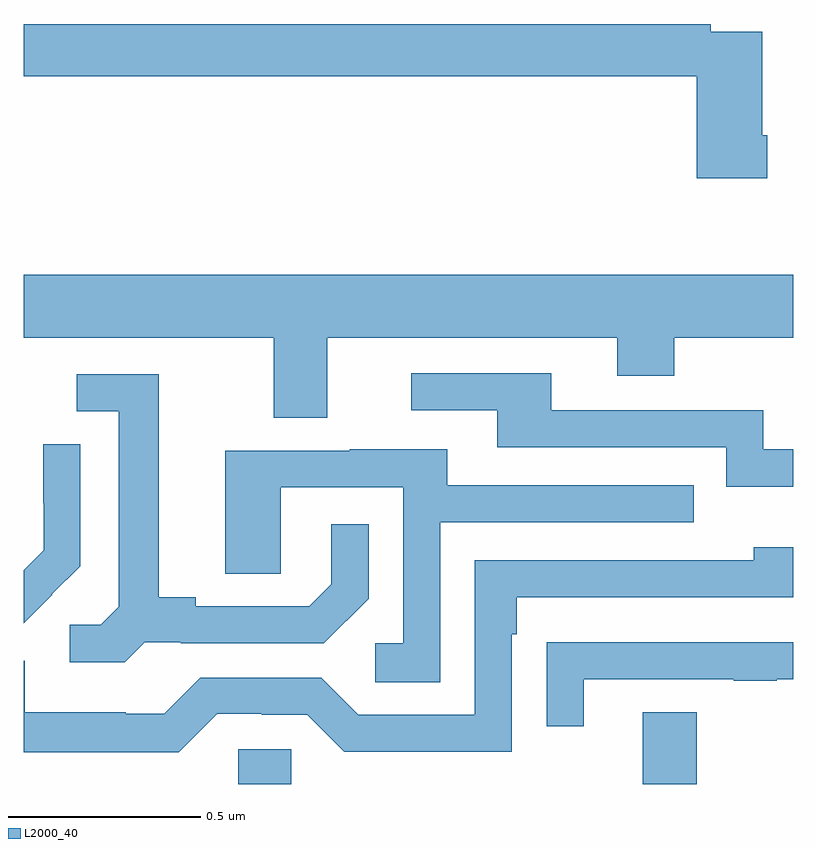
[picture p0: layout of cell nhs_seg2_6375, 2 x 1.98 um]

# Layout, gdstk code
import gdstk
lib = gdstk.Library(unit=1e-6, precision=1e-09)
def R(c, l, rs):  # rectangles x0, y0, x1, y1
    for r in rs: c.add(gdstk.rectangle(r[:2], r[2:], *l))
def P(c, l, *ps):  # polygons
    for p in ps: c.add(gdstk.Polygon(p, *l))
L2000_40 = (2000, 40)

nhs_seg2_6375 = lib.new_cell('nhs_seg2_6375')
R(nhs_seg2_6375, L2000_40, [(190.557,655.8,190.695,655.89), (191.609,655.8,191.749,655.987)])
P(nhs_seg2_6375, L2000_40, [(191.933,657.487),(191.92,657.487),(191.92,657.756),(191.786,657.756),(191.786,657.776),(190,657.776),(190,657.64),(191.75,657.64),(191.75,657.375),(191.933,657.375)],
  [(190.789,656.96),(191.543,656.96),(191.543,656.861),(191.691,656.861),(191.691,656.96),(192,656.96),(192,657.124),(190,657.124),(190,656.96),(190.649,656.96),(190.649,656.752),(190.789,656.752)],
  [(192,656.67),(191.922,656.67),(191.922,656.772),(191.371,656.772),(191.371,656.868),(191.007,656.868),(191.007,656.772),(191.231,656.772),(191.231,656.676),(191.826,656.676),(191.826,656.573),(192,656.573)],
  [(190.314,656.169),(190.408,656.169),(190.408,656.166),(190.78,656.166),(190.896,656.282),(190.896,656.476),(190.799,656.476),(190.799,656.319),(190.742,656.262),(190.447,656.262),(190.447,656.285),(190.351,656.285),(190.351,656.865),(190.137,656.865),(190.137,656.769),(190.247,656.769),(190.247,656.261),(190.2,656.214),(190.119,656.214),(190.119,656.117),(190.262,656.117)],
  [(190.074,656.292),(190.073,656.293),(190.146,656.366),(190.146,656.684),(190.05,656.684),(190.05,656.53),(190.052,656.53),(190.052,656.408),(190,656.356),(190,656.218)],
  [(191.082,656.481),(191.741,656.481),(191.741,656.577),(191.101,656.577),(191.101,656.671),(190.847,656.671),(190.847,656.667),(190.523,656.667),(190.523,656.347),(190.668,656.347),(190.668,656.571),(190.986,656.571),(190.986,656.166),(190.914,656.166),(190.914,656.065),(191.082,656.065)],
  [(190.503,655.983),(190.619,655.983),(190.619,655.98),(190.737,655.98),(190.833,655.884),(191.268,655.884),(191.268,656.189),(191.281,656.189),(191.281,656.286),(192,656.286),(192,656.416),(191.897,656.416),(191.897,656.382),(191.172,656.382),(191.172,655.98),(190.869,655.98),(190.773,656.076),(190.458,656.076),(190.365,655.983),(190.265,655.983),(190.265,655.987),(190.002,655.987),(190.002,656.121),(190,656.121),(190,655.883),(190.403,655.883)],
  [(191.455,656.073),(191.845,656.073),(191.845,656.068),(191.957,656.068),(191.957,656.073),(192,656.073),(192,656.169),(191.461,656.169),(191.461,656.168),(191.359,656.168),(191.359,655.95),(191.455,655.95)])

lib.write_gds('nhs_seg2_6375.gds')
